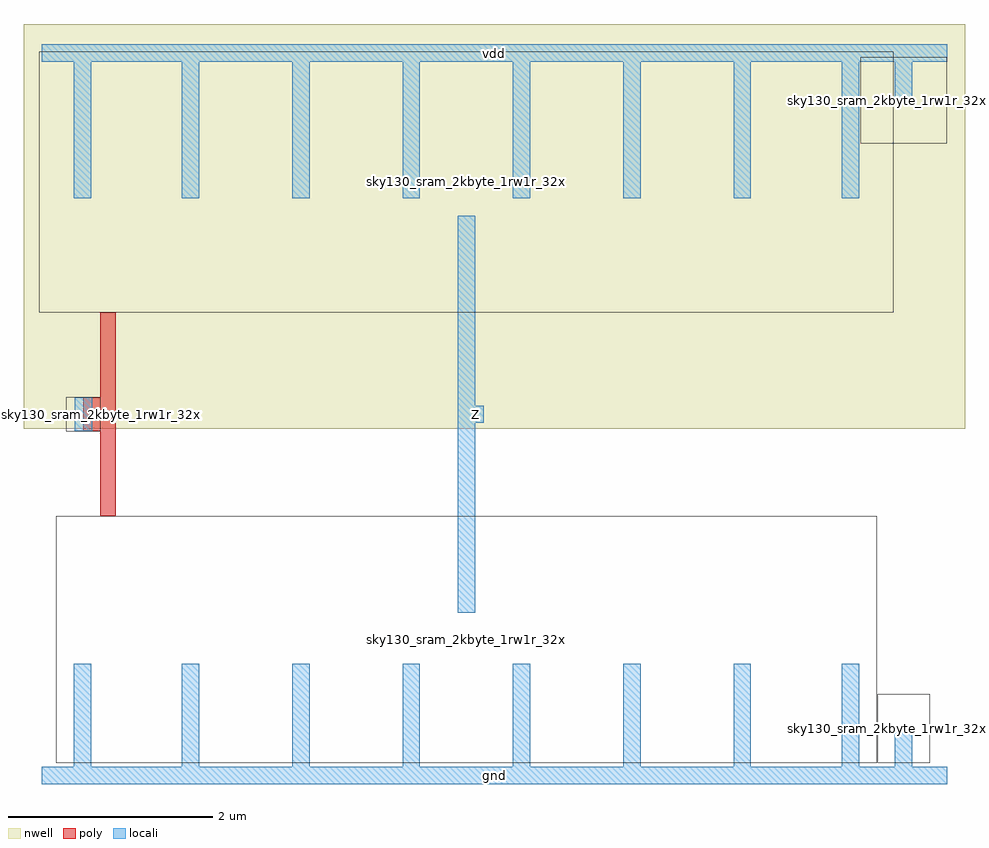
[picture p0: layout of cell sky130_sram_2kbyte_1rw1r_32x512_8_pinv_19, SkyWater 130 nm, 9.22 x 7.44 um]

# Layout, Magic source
magic
tech sky130A
magscale 1 2
<< nwell >>
rect -36 679 1808 1471
<< poly >>
rect 114 740 144 907
rect 81 674 144 740
rect 114 507 144 674
<< locali >>
rect 0 1397 1772 1431
rect 62 1130 96 1397
rect 274 1130 308 1397
rect 490 1130 524 1397
rect 706 1130 740 1397
rect 922 1130 956 1397
rect 1138 1130 1172 1397
rect 1354 1130 1388 1397
rect 1566 1130 1600 1397
rect 1670 1322 1704 1397
rect 64 674 98 740
rect 814 724 848 1096
rect 814 690 865 724
rect 814 318 848 690
rect 62 17 96 218
rect 274 17 308 218
rect 490 17 524 218
rect 706 17 740 218
rect 922 17 956 218
rect 1138 17 1172 218
rect 1354 17 1388 218
rect 1566 17 1600 218
rect 1670 17 1704 92
rect 0 -17 1772 17
use sky130_sram_2kbyte_1rw1r_32x512_8_pmos_m14_w2_000_sli_dli_da_p  sky130_sram_2kbyte_1rw1r_32x512_8_pmos_m14_w2_000_sli_dli_da_p_0
transform 1 0 54 0 1 963
box -59 -56 1613 454
use sky130_sram_2kbyte_1rw1r_32x512_8_nmos_m14_w2_000_sli_dli_da_p  sky130_sram_2kbyte_1rw1r_32x512_8_nmos_m14_w2_000_sli_dli_da_p_0
transform 1 0 54 0 1 51
box -26 -26 1580 456
use sky130_sram_2kbyte_1rw1r_32x512_8_contact_16  sky130_sram_2kbyte_1rw1r_32x512_8_contact_16_0
transform 1 0 48 0 1 674
box 0 0 66 66
use sky130_sram_2kbyte_1rw1r_32x512_8_contact_29  sky130_sram_2kbyte_1rw1r_32x512_8_contact_29_0
transform 1 0 1662 0 1 51
box -26 -26 76 108
use sky130_sram_2kbyte_1rw1r_32x512_8_contact_28  sky130_sram_2kbyte_1rw1r_32x512_8_contact_28_0
transform 1 0 1662 0 1 1281
box -59 -43 109 125
<< labels >>
rlabel locali s 81 707 81 707 4 A
rlabel locali s 848 707 848 707 4 Z
rlabel locali s 886 0 886 0 4 gnd
rlabel locali s 886 1414 886 1414 4 vdd
<< properties >>
string FIXED_BBOX 0 0 1772 1414
<< end >>
